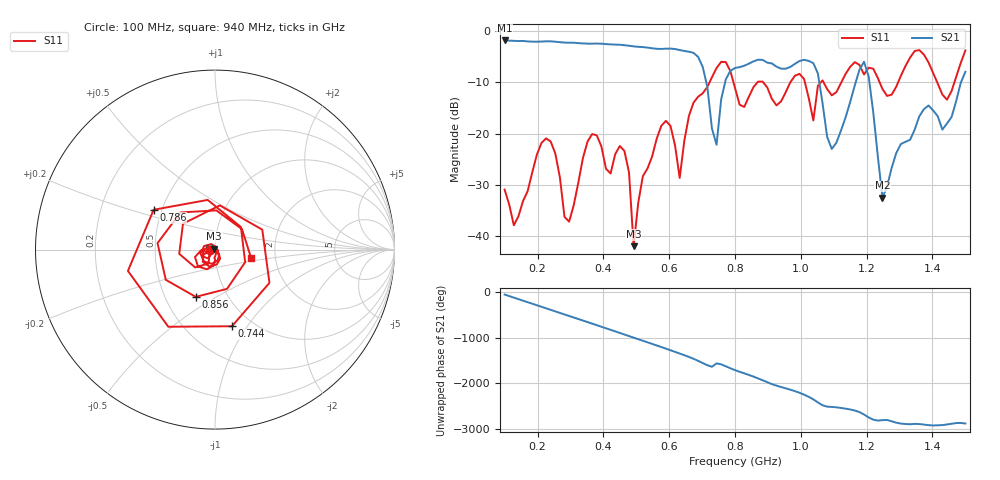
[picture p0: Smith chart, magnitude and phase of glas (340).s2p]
! NanoVNA-App
! Date: 2025-09-25 15:58:07
! Start: 100MHz Stop: 1,5GHz Points: 101
! S-Parameter data: F S11 S21 S12 S22
# Hz S RI R 50
!  Frequency  S11_Real  S11_Imag  S21_Real  S21_Imag  S12_Real  S12_Imag  S22_Real  S22_Imag
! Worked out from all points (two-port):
!   101 points, 100 MHz to 1.5 GHz, reference 50 ohm
!   highest |S21| = -1.80 dB at 100 MHz (marker M1); lowest = -32.5 dB at 1.248 GHz (marker M2)
!   |S21| within 3 dB of the highest: start of sweep to 684.2 MHz
!   lowest |S11| = -42.0 dB at 492 MHz (marker M3), VSWR 1.02, Z = 49.5 + j0.599 ohm
!   |S11| at or under -10 dB: start of sweep to 722.5 MHz; 795.4 MHz to 868 MHz (72.6 MHz wide, 8.73 % of centre); 886 MHz to 967.9 MHz (81.89 MHz wide, 8.83 % of centre) (the widest 3 of 7)
!   S12 and S22 are empty: the file has one direction only
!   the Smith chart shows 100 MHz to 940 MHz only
!   S11 on the Smith chart (normalised r, x): 100 MHz: 0.95, -0.01; 744 MHz: 0.81, -0.85; 786 MHz: 0.45, +0.24; 856 MHz: 0.71, -0.41; 940 MHz: 1.50, -0.14
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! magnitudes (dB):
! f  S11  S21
! 100 MHz  -30.9  -1.8
! 128 MHz  -37.9  -1.9
! 226 MHz  -20.9  -2.0
! 296 MHz  -37.2  -2.2
! 338 MHz  -24.8  -2.4
! 464 MHz  -23.4  -2.7
! 492 MHz  -42.0  -3.0
! 576 MHz  -18.5  -3.5
! 632 MHz  -28.7  -3.7
! 702 MHz  -12.1  -7.0
! 744 MHz  -7.2  -22.2
! 786 MHz  -7.8  -7.7
! 800 MHz  -11.1  -7.2
! 856 MHz  -10.9  -5.9
! 940 MHz  -13.7  -7.3
! 996 MHz  -8.3  -5.8
! 1.038 GHz  -17.4  -6.2
! 1.094 GHz  -12.5  -23.0
! 1.192 GHz  -8.4  -6.0
! 1.248 GHz  -11.3  -32.5
! 1.276 GHz  -12.4  -26.7
! 1.5 GHz  -3.7  -7.9
